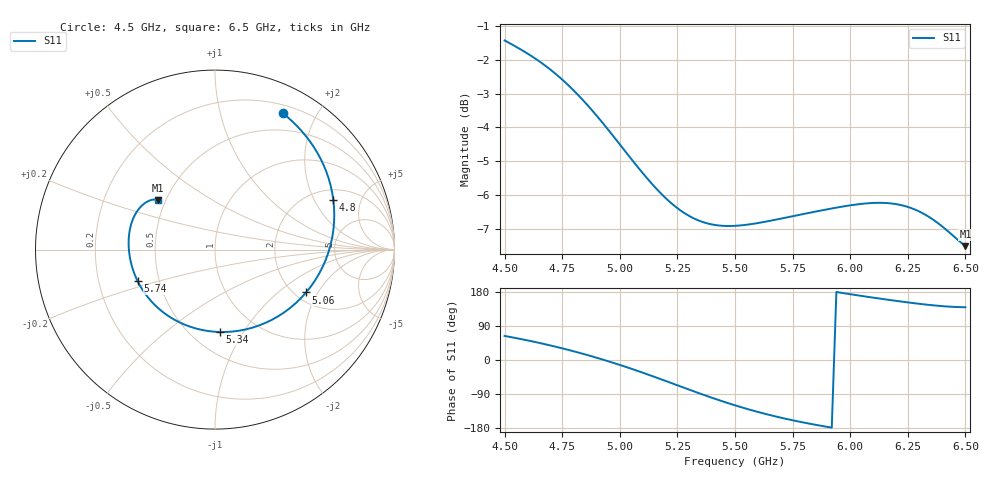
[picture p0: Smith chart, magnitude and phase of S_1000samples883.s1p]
! TOUCHSTONE file generated by CST MICROWAVE STUDIO
! Date and time: Sat Oct 29 16:48:23 2022
! Project name: L.cst
! Parameters = {Di=1.27; Epsilon_r=1.56; InnerDiameter=1.27; Length=2; Lf=10; Lg=60; OuterConductorThickness=0.2921; OuterDiameter=3.6; Wf=3; Wp=41.2; de=1.5; df=6.8; g=0.8; gx=2.73803; gy=1.43024; h=2.34; hf=1.524; px=12.4809; py=8.9421; w=9.7; wx=9.74283; wy=7.51185}
! Header version: 2018
! Port assignment regex: !\s*Touchstone port\s*([0-9]+)\s*=\s*(CST MWS port|CST DS port)\s*([0-9]+|Zmin|Zmax)\s*\(\"(.*)\"\)(\s*mode\s*([0-9]+))?.*
! Touchstone port assignment:
! Touchstone port 1 = CST MWS port 1 ("")
# GHz S DB R 50
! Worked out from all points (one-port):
!   101 points, 4.5 GHz to 6.5 GHz, reference 50 ohm
!   lowest |S11| = -7.5 dB at 6.5 GHz (marker M1), VSWR 2.45, Z = 22.7 + j15.2 ohm
!   |S11| at or under -10 dB: nowhere
!   S11 on the Smith chart (normalised r, x): 4.5 GHz: 0.29, +1.58; 4.8 GHz: 2.52, +2.87; 5.06 GHz: 2.29, -1.59; 5.34 GHz: 0.68, -0.79; 5.74 GHz: 0.38, -0.17; 6.5 GHz: 0.45, +0.30
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4.5  -1.43 63.5
4.56  -1.65 56.6
4.62  -1.90 49.1
4.7  -2.30 38.2
4.76  -2.65 29.2
4.8  -2.91 22.9
4.86  -3.34 12.9
4.9  -3.66 5.9
4.94  -3.99 -1.5
5  -4.50 -13.0
5.06  -5.02 -25.2
5.12  -5.52 -37.9
5.16  -5.82 -46.6
5.2  -6.10 -55.5
5.26  -6.44 -69.0
5.34  -6.75 -86.8
5.42  -6.89 -103.8
5.5  -6.91 -119.6
5.56  -6.87 -130.4
5.62  -6.80 -140.4
5.74  -6.64 -157.7
5.76  -6.61 -160.3
5.88  -6.45 -174.3
6  -6.31 173.6
6.12  -6.23 162.8
6.26  -6.38 151.2
6.38  -6.83 143.2
6.5  -7.51 139.2
